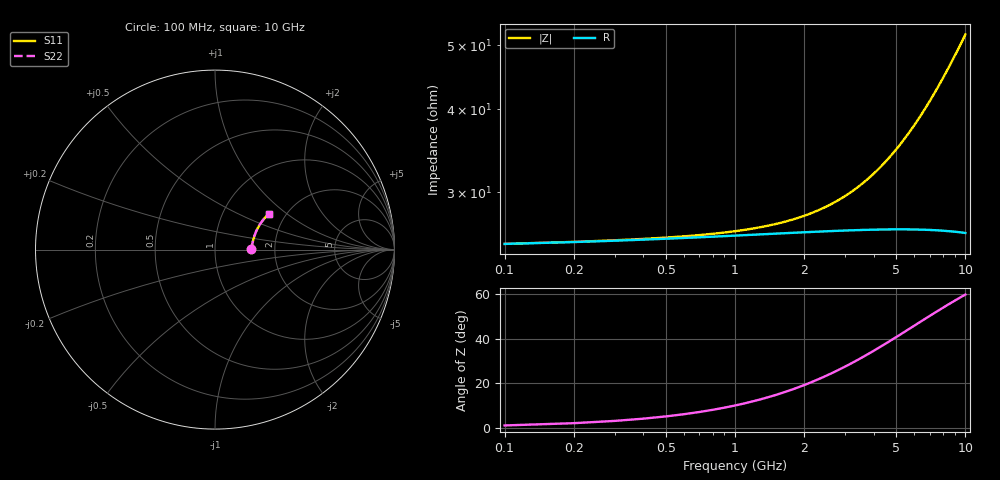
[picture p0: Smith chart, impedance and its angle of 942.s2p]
# Hz S RI R 50.00
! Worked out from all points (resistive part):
!   100 points, 100 MHz to 10 GHz, reference 50 ohm
!   read as one part in series: R = 25.1 ohm at 100 MHz
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1e8  0.2004 0.00239  0.7996 -0.00339  0.7996 -0.00339  0.2004 0.00239
2e8  0.2015 0.00477  0.7985 -0.00676  0.7985 -0.00676  0.2015 0.00477
3e8  0.2023 0.00714  0.7977 -0.0101  0.7977 -0.0101  0.2023 0.00714
6e8  0.2041 0.0142  0.7959 -0.0202  0.7959 -0.0202  0.2041 0.0142
1.2e9  0.2071 0.0282  0.7928 -0.0401  0.7928 -0.0401  0.2071 0.0282
1.5e9  0.2085 0.0351  0.7913 -0.05  0.7913 -0.05  0.2085 0.0351
1.8e9  0.2101 0.042  0.7897 -0.0599  0.7897 -0.0599  0.2101 0.042
2.2e9  0.2123 0.0511  0.7874 -0.073  0.7874 -0.073  0.2123 0.0511
2.6e9  0.2147 0.0602  0.7849 -0.086  0.7849 -0.086  0.2147 0.0602
3e9  0.2174 0.0691  0.7821 -0.0989  0.7821 -0.0989  0.2174 0.0691
3.4e9  0.2202 0.0779  0.7791 -0.1117  0.7791 -0.1117  0.2202 0.0779
3.8e9  0.2234 0.0866  0.7758 -0.1244  0.7758 -0.1244  0.2234 0.0866
4.2e9  0.2267 0.0952  0.7723 -0.137  0.7723 -0.137  0.2267 0.0952
4.6e9  0.2304 0.1036  0.7685 -0.1494  0.7685 -0.1494  0.2304 0.1036
5.1e9  0.2352 0.1139  0.7633 -0.1647  0.7633 -0.1647  0.2352 0.1139
5.9e9  0.2438 0.1299  0.7543 -0.1886  0.7543 -0.1886  0.2438 0.1299
6.7e9  0.2532 0.1452  0.7443 -0.2119  0.7443 -0.2119  0.2532 0.1452
7.5e9  0.2636 0.1597  0.7333 -0.2344  0.7333 -0.2344  0.2636 0.1597
8e9  0.2704 0.1683  0.726 -0.2481  0.726 -0.2481  0.2704 0.1683
8.4e9  0.2761 0.175  0.72 -0.2588  0.72 -0.2588  0.2761 0.175
9.2e9  0.288 0.1876  0.7073 -0.2795  0.7073 -0.2795  0.288 0.1876
1e10  0.3005 0.1994  0.6939 -0.2993  0.6939 -0.2993  0.3005 0.1994
